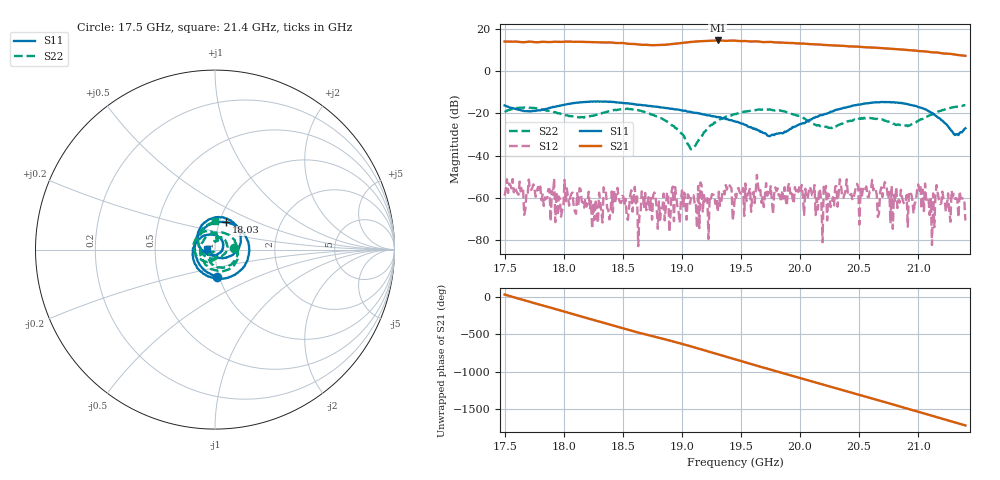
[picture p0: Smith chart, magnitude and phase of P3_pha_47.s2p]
!Created with skrf (http://scikit-rf.org).
# GHz S RI R 50.0
!freq ReS11 ImS11 ReS21 ImS21 ReS12 ImS12 ReS22 ImS22
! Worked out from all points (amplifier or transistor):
!   401 points, 17.5 GHz to 21.4 GHz, reference 50 ohm
!   highest |S21| = 14.5 dB at 19.3 GHz (marker M1)
!   |S21| within 3 dB of that: start of sweep to 20.5 GHz
!   unconditionally stable (mu >= 1): start of sweep to end of sweep
!   at 18.14 GHz: K = 60.78, MAG = 14.0 dB, |S12| = -55.9 dB
!   at 19.45 GHz: K = 78.44, MAG = 14.4 dB, |S12| = -58.4 dB
!   at 21.4 GHz: K = 727.90, MAG = 7.3 dB, |S12| = -70.7 dB
!   S11 on the Smith chart (normalised r, x): 17.5 GHz: 0.98, -0.31; 18.03 GHz: 1.08, +0.34; 21.4 GHz: 0.92, +0.01
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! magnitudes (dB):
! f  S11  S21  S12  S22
! 17.5 GHz  -16.3  14.0  -59.0  -19.4
! 17.72 GHz  -19.1  13.9  -56.3  -17.4
! 17.97 GHz  -16.4  13.8  -60.2  -20.1
! 18.03 GHz  -15.7  14.0  -55.5  -20.9
! 18.15 GHz  -14.8  13.8  -61.9  -21.7
! 18.26 GHz  -14.4  13.6  -70.4  -21.0
! 18.45 GHz  -14.8  13.3  -58.2  -18.5
! 18.81 GHz  -17.0  12.4  -61.7  -22.0
! 19.09 GHz  -19.6  13.8  -58.9  -36.8
! 19.3 GHz  -21.7  14.5  -66.6  -23.7
! 19.39 GHz  -22.9  14.3  -53.4  -21.3
! 19.45 GHz  -23.8  14.4  -58.4  -20.3
! 19.74 GHz  -30.8  13.8  -58.6  -18.1
! 20.1 GHz  -22.5  12.7  -58.9  -24.7
! 20.17 GHz  -20.9  12.5  -57.1  -26.1
! 20.33 GHz  -18.1  12.0  -57.6  -25.4
! 20.76 GHz  -14.6  10.6  -57.3  -24.0
! 21 GHz  -17.0  9.5  -53.6  -23.6
! 21.12 GHz  -19.8  8.9  -82.3  -20.5
! 21.17 GHz  -21.9  8.7  -57.7  -19.2
! 21.37 GHz  -29.0  7.4  -60.1  -16.5
! 21.4 GHz  -27.0  7.2  -70.7  -16.1
